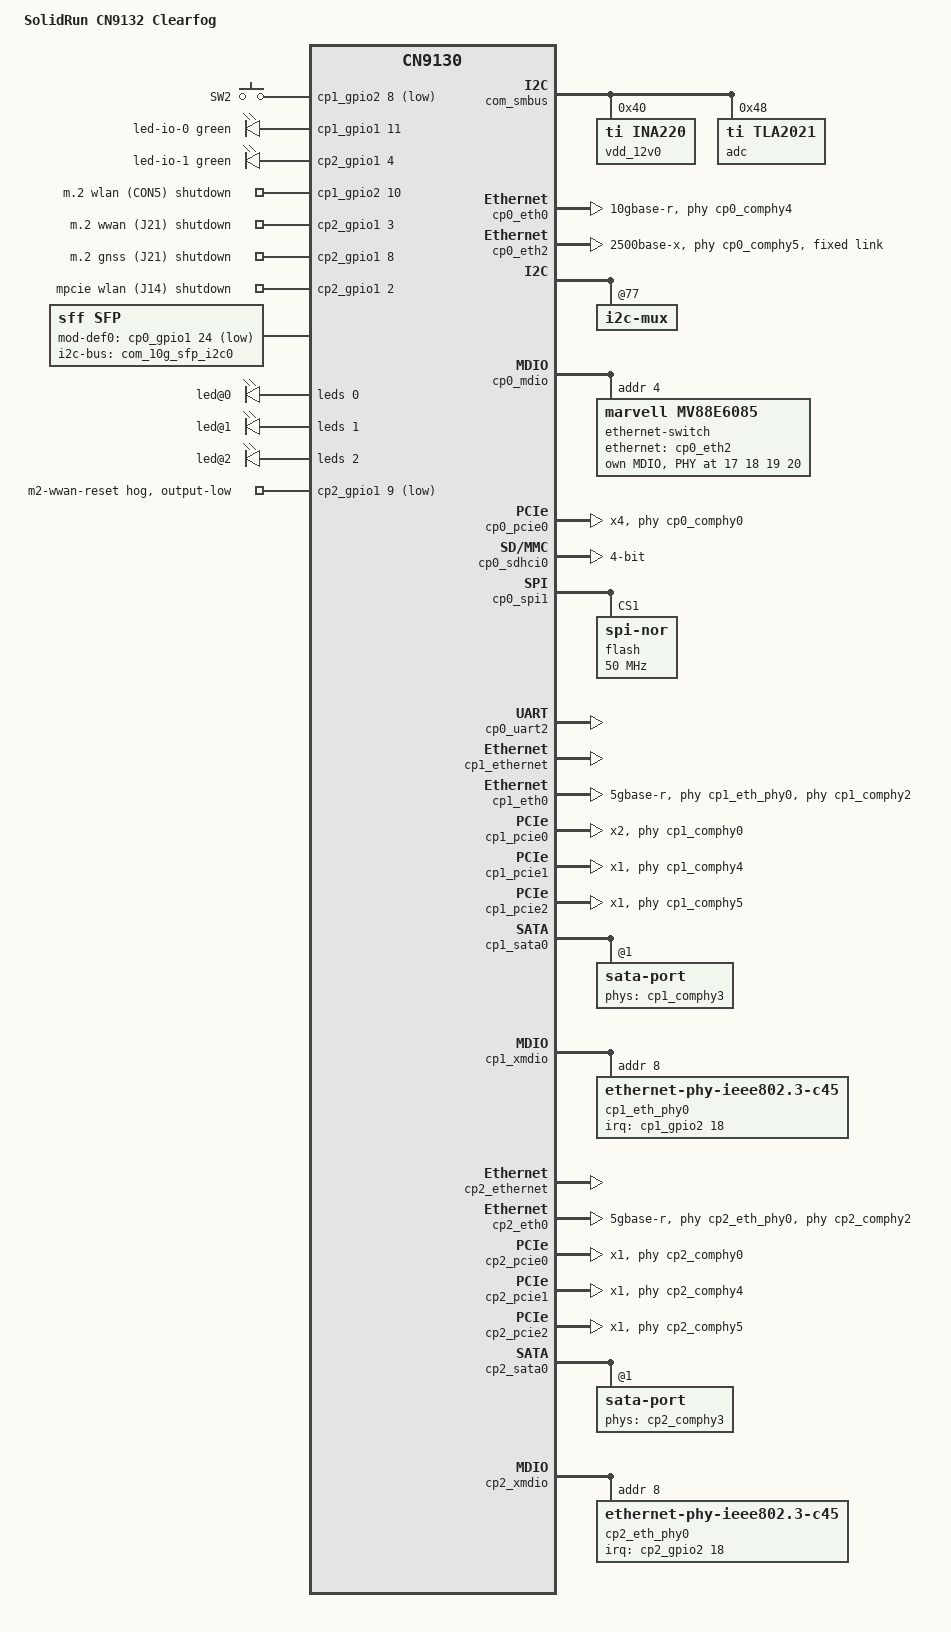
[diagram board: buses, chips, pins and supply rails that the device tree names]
// SPDX-License-Identifier: (GPL-2.0+ OR MIT)
/*
 * Copyright (C) 2024 Josua Mayer <josua@solid-run.com>
 *
 * DTS for SolidRun CN9132 Clearfog.
 *
 */

/dts-v1/;

#include <dt-bindings/input/input.h>
#include <dt-bindings/leds/common.h>

#include "cn9130.dtsi"
#include "cn9132-sr-cex7.dtsi"

/ {
	model = "SolidRun CN9132 Clearfog";
	compatible = "solidrun,cn9132-clearfog",
		     "solidrun,cn9132-sr-cex7", "marvell,cn9130";

	aliases {
		ethernet1 = &cp0_eth2;
		ethernet2 = &cp0_eth0;
		ethernet3 = &cp2_eth0;
		ethernet4 = &cp1_eth0;
		i2c7 = &carrier_mpcie_i2c;
		i2c8 = &carrier_ptp_i2c;
		mmc1 = &cp0_sdhci0;
	};

	gpio-keys {
		compatible = "gpio-keys";
		pinctrl-names = "default";
		pinctrl-0 = <&cp1_wake0_pins>;

		button-0 {
			label = "SW2";
			gpios = <&cp1_gpio2 8 GPIO_ACTIVE_LOW>;
			linux,can-disable;
			linux,code = <BTN_2>;
		};
	};

	leds {
		compatible = "gpio-leds";
		pinctrl-names = "default";
		pinctrl-0 = <&cp1_batlow_pins &cp2_rsvd4_pins>;

		/* LED11 */
		led-io-0 {
			color = <LED_COLOR_ID_GREEN>;
			function = LED_FUNCTION_DISK;
			function-enumerator = <0>;
			default-state = "off";
			gpios = <&cp1_gpio1 11 GPIO_ACTIVE_HIGH>;
		};

		/* LED12 */
		led-io-1 {
			color = <LED_COLOR_ID_GREEN>;
			function = LED_FUNCTION_DISK;
			function-enumerator = <1>;
			default-state = "off";
			gpios = <&cp2_gpio1 4 GPIO_ACTIVE_HIGH>;
		};
	};

	/* CON4 W_DISABLE1/W_DISABLE2 */
	rfkill-m2-wlan {
		compatible = "rfkill-gpio";
		label = "m.2 wlan (CON4)";
		radio-type = "wlan";
		pinctrl-names = "default";
		pinctrl-0 = <&cp1_10g_phy_rst_01_pins>;
		/* rfkill-gpio inverts internally */
		shutdown-gpios = <&cp1_gpio2 11 GPIO_ACTIVE_HIGH>;
	};

	/* CON5 W_DISABLE1/W_DISABLE2 */
	rfkill-m2-wlan {
		compatible = "rfkill-gpio";
		label = "m.2 wlan (CON5)";
		radio-type = "wlan";
		pinctrl-names = "default";
		pinctrl-0 = <&cp1_10g_phy_rst_23_pins>;
		/* rfkill-gpio inverts internally */
		shutdown-gpios = <&cp1_gpio2 10 GPIO_ACTIVE_HIGH>;
	};

	/* J21 W_DISABLE1 */
	rfkill-m2-wwan {
		compatible = "rfkill-gpio";
		label = "m.2 wwan (J21)";
		radio-type = "wwan";
		pinctrl-names = "default";
		pinctrl-0 = <&cp2_rsvd3_pins>;
		/* rfkill-gpio inverts internally */
		shutdown-gpios = <&cp2_gpio1 3 GPIO_ACTIVE_HIGH>;
	};

	/* J21 W_DISABLE1 */
	rfkill-m2-gnss {
		compatible = "rfkill-gpio";
		label = "m.2 gnss (J21)";
		radio-type = "gps";
		pinctrl-names = "default";
		pinctrl-0 = <&cp2_rsvd8_pins>;
		/* rfkill-gpio inverts internally */
		shutdown-gpios = <&cp2_gpio1 8 GPIO_ACTIVE_HIGH>;
	};

	/* J14 W_DISABLE */
	rfkill-mpcie-wlan {
		compatible = "rfkill-gpio";
		label = "mpcie wlan (J14)";
		radio-type = "wlan";
		pinctrl-names = "default";
		pinctrl-0 = <&cp2_rsvd2_pins>;
		/* rfkill-gpio inverts internally */
		shutdown-gpios = <&cp2_gpio1 2 GPIO_ACTIVE_HIGH>;
	};

	sfp: sfp {
		compatible = "sff,sfp";
		i2c-bus = <&com_10g_sfp_i2c0>;
		pinctrl-names = "default";
		pinctrl-0 = <&com_10g_int0_pins>;
		mod-def0-gpios = <&cp0_gpio1 24 GPIO_ACTIVE_LOW>;
		maximum-power-milliwatt = <2000>;
	};
};

&com_smbus {
	/* This bus is also routed to STM32 BMC Microcontroller (U2) */

	power-sensor@40 {
		compatible = "ti,ina220";
		reg = <0x40>;
		#io-channel-cells = <1>;
		label = "vdd_12v0";
		shunt-resistor = <2000>;
	};

	adc@48 {
		compatible = "ti,tla2021";
		reg = <0x48>;
		#address-cells = <1>;
		#size-cells = <0>;

		/* supplied by chaoskey hardware noise generator circuit */
		channel@0 {
			reg = <0>;
		};
	};
};

&cp0_eth_phy0 {
	/*
	 * Configure LEDs default behaviour:
	 * - LED[0]: link is 1000Mbps: On (yellow): 0111
	 * - LED[1]: link/activity: On/Blink (green): 0001
	 * - LED[2]: Off (green): 1000
	 */
	marvell,reg-init = <3 16 0xf000 0x0817>;

	leds {
		#address-cells = <1>;
		#size-cells = <0>;

		led@0 {
			/* link */
			reg = <0>;
			color = <LED_COLOR_ID_YELLOW>;
			function = LED_FUNCTION_LAN;
			default-state = "keep";
		};

		led@1 {
			/* act */
			reg = <1>;
			color = <LED_COLOR_ID_GREEN>;
			function = LED_FUNCTION_LAN;
			default-state = "keep";
		};

		led@2 {
			/* 1000 */
			reg = <2>;
			color = <LED_COLOR_ID_GREEN>;
			function = LED_FUNCTION_LAN;
			default-state = "keep";
		};
	};
};

/* SRDS #4 - 10GE */
&cp0_eth0 {
	phys = <&cp0_comphy4 0>;
	phy-mode = "10gbase-r";
	managed = "in-band-status";
	sfp = <&sfp>;
	status = "okay";
};

&cp0_eth2 {
	phy-mode = "2500base-x";
	phys = <&cp0_comphy5 2>;
	status = "okay";

	fixed-link {
		speed = <2500>;
		full-duplex;
		pause;
	};
};

&cp0_i2c1 {
	/*
	 * Both COM and Carrier Board have a PCA9547 i2c mux at 0x77.
	 * Describe them as a single device merging each child bus.
	 */

	i2c-mux@77 {
		i2c@0 {
			/* Routed to Full PCIe (J4) */
		};

		i2c@1 {
			/* Routed to USB Hub (U29) */
		};

		i2c@2 {
			/* Routed to M.2 (CON4) */
		};

		i2c@3 {
			/* Routed to M.2 (CON5) */
		};

		i2c@4 {
			/* Routed to M.2 (J21) */
		};

		carrier_mpcie_i2c: i2c@5 {
			#address-cells = <1>;
			#size-cells = <0>;
			reg = <5>;

			/* Routed to mini-PCIe (J14) */
		};

		carrier_ptp_i2c: i2c@6 {
			#address-cells = <1>;
			#size-cells = <0>;
			reg = <6>;

			/* Routed to various optional PTP related components */
		};
	};
};

&cp0_mdio {
	ethernet-switch@4 {
		compatible = "marvell,mv88e6085";
		reg = <4>;

		mdio {
			#address-cells = <1>;
			#size-cells = <0>;

			sw_phy1: ethernet-phy@1 {
				reg = <0x11>;
			};

			sw_phy2: ethernet-phy@2 {
				reg = <0x12>;
			};

			sw_phy3: ethernet-phy@3 {
				reg = <0x13>;
			};

			sw_phy4: ethernet-phy@4 {
				reg = <0x14>;
			};
		};

		ethernet-ports {
			#address-cells = <1>;
			#size-cells = <0>;

			ethernet-port@1 {
				reg = <1>;
				label = "lan1";
				phy-handle = <&sw_phy1>;
				phy-mode = "internal";

				leds {
					#address-cells = <1>;
					#size-cells = <0>;

					led@0 {
						reg = <0>;
						color = <LED_COLOR_ID_GREEN>;
						function = LED_FUNCTION_LAN;
						default-state = "keep";
					};

					led@1 {
						reg = <1>;
						color = <LED_COLOR_ID_YELLOW>;
						function = LED_FUNCTION_LAN;
						default-state = "keep";
					};
				};
			};

			ethernet-port@2 {
				reg = <2>;
				label = "lan2";
				phy-handle = <&sw_phy2>;
				phy-mode = "internal";

				leds {
					#address-cells = <1>;
					#size-cells = <0>;

					led@0 {
						reg = <0>;
						color = <LED_COLOR_ID_GREEN>;
						function = LED_FUNCTION_LAN;
						default-state = "keep";
					};

					led@1 {
						reg = <1>;
						color = <LED_COLOR_ID_YELLOW>;
						function = LED_FUNCTION_LAN;
						default-state = "keep";
					};
				};
			};

			ethernet-port@3 {
				reg = <3>;
				label = "lan3";
				phy-handle = <&sw_phy3>;
				phy-mode = "internal";

				leds {
					#address-cells = <1>;
					#size-cells = <0>;

					led@0 {
						reg = <0>;
						color = <LED_COLOR_ID_GREEN>;
						function = LED_FUNCTION_LAN;
						default-state = "keep";
					};

					led@1 {
						reg = <1>;
						color = <LED_COLOR_ID_YELLOW>;
						function = LED_FUNCTION_LAN;
						default-state = "keep";
					};
				};
			};

			ethernet-port@4 {
				reg = <4>;
				label = "lan4";
				phy-handle = <&sw_phy4>;
				phy-mode = "internal";

				leds {
					#address-cells = <1>;
					#size-cells = <0>;

					led@0 {
						reg = <0>;
						color = <LED_COLOR_ID_GREEN>;
						function = LED_FUNCTION_LAN;
						default-state = "keep";
					};

					led@1 {
						reg = <1>;
						color = <LED_COLOR_ID_YELLOW>;
						function = LED_FUNCTION_LAN;
						default-state = "keep";
					};
				};
			};

			ethernet-port@5 {
				reg = <5>;
				label = "cpu";
				ethernet = <&cp0_eth2>;
				phy-mode = "2500base-x";

				fixed-link {
					speed = <2500>;
					full-duplex;
					pause;
				};
			};
		};
	};
};

/* SRDS #0,#1,#2,#3 - PCIe */
&cp0_pcie0 {
	num-lanes = <4>;
	phys = <&cp0_comphy0 0>, <&cp0_comphy1 0>, <&cp0_comphy2 0>, <&cp0_comphy3 0>;
	status = "okay";
};

&cp0_pinctrl {
	/*
	 * configure unused gpios exposed via pin headers:
	 * - J7-10: PWRBTN
	 */
	pinctrl-names = "default";
	pinctrl-0 = <&cp0_pwrbtn_pins>;
};

/* microSD */
&cp0_sdhci0 {
	pinctrl-0 = <&cp0_mmc0_pins>, <&cp0_mmc0_cd_pins>;
	pinctrl-names = "default";
	bus-width = <4>;
	no-1-8-v;
	status = "okay";
};

&cp0_spi1 {
	/* add CS1 */
	pinctrl-0 = <&cp0_spi1_pins>, <&cp0_spi1_cs1_pins>;

	flash@1 {
		compatible = "jedec,spi-nor";
		reg = <1>;
		/* read command supports max. 50MHz */
		spi-max-frequency = <50000000>;
	};
};

/* J38 */
&cp0_uart2 {
	pinctrl-names = "default";
	pinctrl-0 = <&cp0_uart2_pins>;
	status = "okay";
};

&cp0_utmi {
	/* M.2 "CON5" swaps D+/D- */
	swap-dx-lanes = <1>;
};

&cp1_ethernet {
	status = "okay";
};

/* SRDS #2 - 5GE */
&cp1_eth0 {
	phys = <&cp1_comphy2 0>;
	phy-mode = "5gbase-r";
	phy = <&cp1_eth_phy0>;
	managed = "in-band-status";
	status = "okay";
};

/* SRDS #0,#1 - PCIe */
&cp1_pcie0 {
	num-lanes = <2>;
	phys = <&cp1_comphy0 0>, <&cp1_comphy1 0>;
	status = "okay";
};

/* SRDS #4 - PCIe */
&cp1_pcie1 {
	num-lanes = <1>;
	phys = <&cp1_comphy4 1>;
	status = "okay";
};

/* SRDS #5 - PCIe */
&cp1_pcie2 {
	num-lanes = <1>;
	phys = <&cp1_comphy5 2>;
	status = "okay";
};

&cp1_pinctrl {
	/*
	 * configure unused gpios exposed via pin headers:
	 * - J7-8: RSVD16
	 * - J7-10: THRM
	 * - J10-1: WAKE1
	 * - J10-2: SATA_ACT
	 * - J10-8: THERMTRIP
	 */
	pinctrl-names = "default";
	pinctrl-0 = <&cp1_rsvd16_pins &cp1_sata_act_pins &cp1_thrm_irq_pins>,
		    <&cp1_thrm_trip_pins &cp1_wake1_pins>;
};

/* SRDS #3 - SATA */
&cp1_sata0 {
	status = "okay";

	/* only port 1 is available */
	/delete-node/ sata-port@0;

	sata-port@1 {
		phys = <&cp1_comphy3 1>;
	};
};

&cp1_utmi {
	/* M.2 "CON4" swaps D+/D- */
	swap-dx-lanes = <0>;
};

&cp1_xmdio {
	pinctrl-names = "default";
	pinctrl-0 = <&cp1_xmdio_pins>;
	status = "okay";

	cp1_eth_phy0: ethernet-phy@8 {
		compatible = "ethernet-phy-ieee802.3-c45";
		reg = <8>;
		pinctrl-names = "default";
		pinctrl-0 = <&com_10g_int1_pins>;
		interrupt-parent = <&cp1_gpio2>;
		interrupts = <18 IRQ_TYPE_EDGE_FALLING>;

		leds {
			#address-cells = <1>;
			#size-cells = <0>;

			led@1 {
				reg = <1>;
				color = <LED_COLOR_ID_YELLOW>;
				function = LED_FUNCTION_LAN;
				default-state = "keep";
			};

			led@2 {
				reg = <2>;
				color = <LED_COLOR_ID_GREEN>;
				function = LED_FUNCTION_LAN;
				default-state = "keep";
			};
		};
	};
};

&cp2_ethernet {
	status =  "okay";
};

/* SRDS #2 - 5GE */
&cp2_eth0 {
	phys = <&cp2_comphy2 0>;
	phy-mode = "5gbase-r";
	phy = <&cp2_eth_phy0>;
	managed = "in-band-status";
	status = "okay";
};

&cp2_gpio1 {
	pinctrl-names= "default";
	pinctrl-0 = <&cp2_rsvd9_pins>;

	/* J21 */
	m2-wwan-reset-hog {
		gpio-hog;
		gpios = <9 (GPIO_ACTIVE_LOW | GPIO_OPEN_DRAIN)>;
		output-low;
		line-name = "m2-wwan-reset";
	};
};

/* SRDS #0 - PCIe */
&cp2_pcie0 {
	num-lanes = <1>;
	phys = <&cp2_comphy0 0>;
	status = "okay";
};

/* SRDS #4 - PCIe */
&cp2_pcie1 {
	num-lanes = <1>;
	phys = <&cp2_comphy4 1>;
	status = "okay";
};

/* SRDS #5 - PCIe */
&cp2_pcie2 {
	num-lanes = <1>;
	phys = <&cp2_comphy5 2>;
	status = "okay";
};

&cp2_pinctrl {
	/*
	 * configure unused gpios exposed via pin headers:
	 * - J7-1: RSVD10
	 * - J7-3: RSVD11
	 * - J7-5: RSVD56
	 * - J7-6: RSVD7
	 * - J7-7: RSVD27
	 * - J10-3: RSVD31
	 * - J10-5: RSVD5
	 * - J10-6: RSVD32
	 * - J10-7: RSVD0
	 * - J10-9: RSVD1
	 */
	pinctrl-names = "default";
	pinctrl-0 = <&cp2_rsvd0_pins &cp2_rsvd1_pins &cp2_rsvd5_pins>,
		    <&cp2_rsvd7_pins &cp2_rsvd10_pins &cp2_rsvd11_pins>,
		    <&cp2_rsvd27_pins &cp2_rsvd31_pins &cp2_rsvd32_pins>,
		    <&cp2_rsvd56_pins>;
};

/* SRDS #3 - SATA */
&cp2_sata0 {
	status = "okay";

	/* only port 1 is available */
	/delete-node/ sata-port@0;

	sata-port@1 {
		phys = <&cp2_comphy3 1>;
	};
};

&cp2_xmdio {
	pinctrl-names = "default";
	pinctrl-0 = <&cp2_xmdio_pins>;
	status = "okay";

	cp2_eth_phy0: ethernet-phy@8 {
		compatible = "ethernet-phy-ieee802.3-c45";
		reg = <8>;
		pinctrl-names = "default";
		pinctrl-0 = <&com_10g_int2_pins>;
		interrupt-parent = <&cp2_gpio2>;
		interrupts = <18 IRQ_TYPE_EDGE_FALLING>;

		leds {
			#address-cells = <1>;
			#size-cells = <0>;

			led@1 {
				reg = <1>;
				color = <LED_COLOR_ID_YELLOW>;
				function = LED_FUNCTION_LAN;
				default-state = "keep";
			};

			led@2 {
				reg = <2>;
				color = <LED_COLOR_ID_GREEN>;
				function = LED_FUNCTION_LAN;
				default-state = "keep";
			};
		};
	};
};
